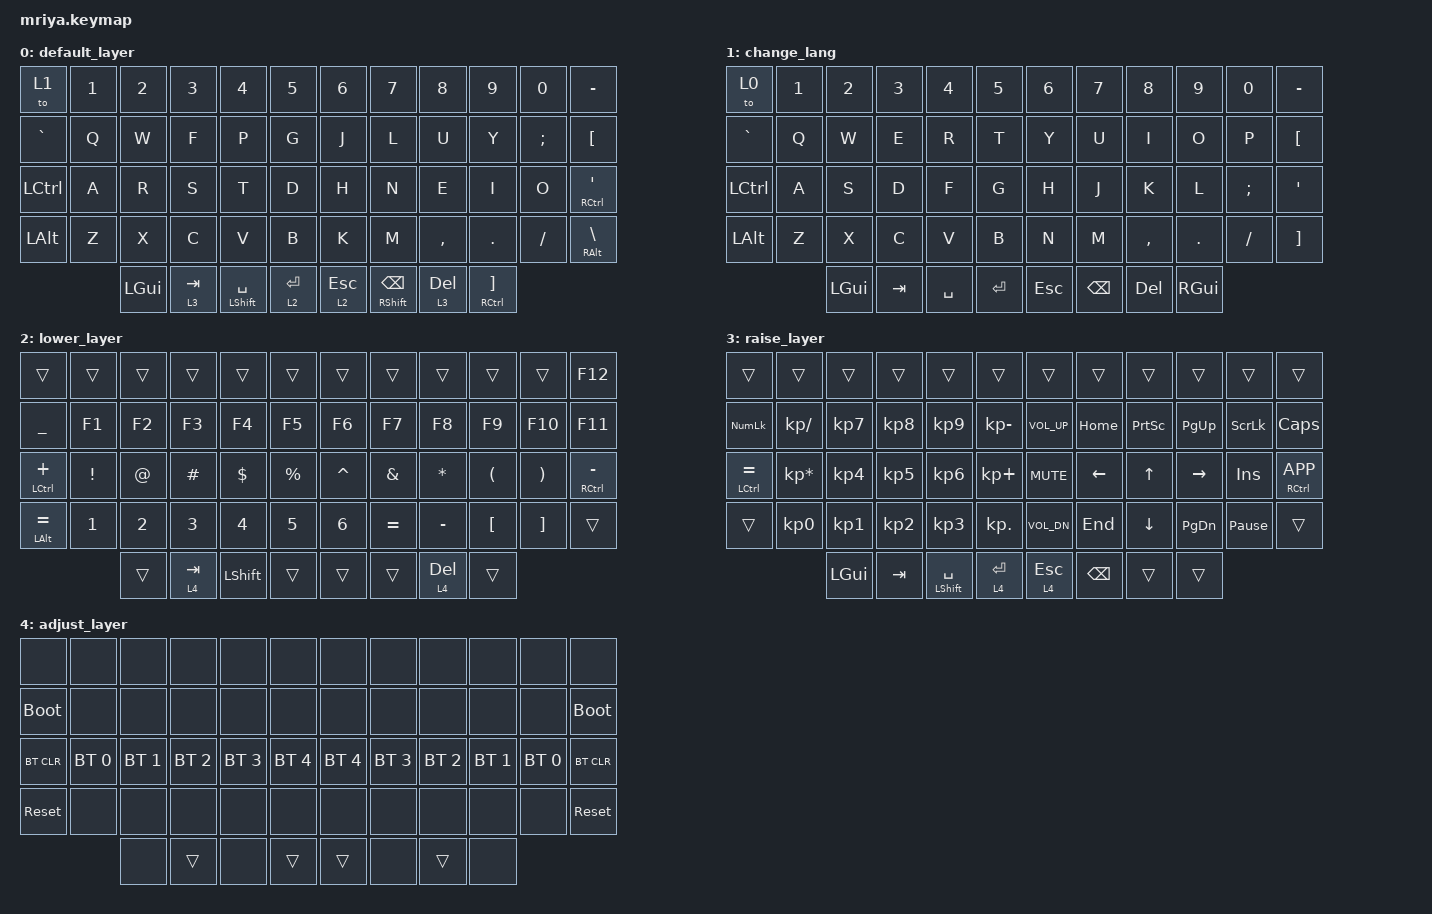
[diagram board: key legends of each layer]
/*
 * Copyright (c) 2023 Andrei Gaevskii
 *
 * SPDX-License-Identifier: MIT
 */

#include <behaviors.dtsi>
#include <dt-bindings/zmk/bt.h>
#include <dt-bindings/zmk/keys.h>

#define DEF 0
#define LWR 1
#define RSE 2
#define ADJ 3

&lt { quick_tap_ms = <200>; };

&mt { quick_tap_ms = <200>; };

/ {
    combos {
        compatible = "zmk,combos";

        chg_to_ru {
            bindings = <&to_ru>;
            key-positions = <48 50>;
            layers = <0>;
            timeout-ms = <40>;
        };

        chg_to_ehg {
            bindings = <&to_eng>;
            key-positions = <48 50>;
            layers = <1>;
            timeout-ms = <40>;
        };
    };

    macros {
        to_ru: change_language {
            compatible = "zmk,behavior-macro";
            #binding-cells = <0>;
            bindings =
                <&macro_press>,
                <&kp LGUI>,
                <&macro_tap>,
                <&kp SPACE>,
                <&macro_release>,
                <&kp LGUI>,
                <&macro_tap>,
                <&to 1>;

            label = "TO_RU";
        };

        to_eng: change_language_back {
            compatible = "zmk,behavior-macro";
            #binding-cells = <0>;
            bindings =
                <&macro_press>,
                <&kp LGUI>,
                <&macro_tap>,
                <&kp SPACE>,
                <&macro_release>,
                <&kp LGUI>,
                <&macro_tap>,
                <&to 0>;

            label = "TO_ENG";
        };
    };

    keymap {
        compatible = "zmk,keymap";

        default_layer {
            bindings = <
  &to 1      &kp N1  &kp N2    &kp N3     &kp N4           &kp N5       &kp N6     &kp N7          &kp N8     &kp N9                   &kp N0         &kp MINUS
  &kp GRAVE  &kp Q   &kp W     &kp F      &kp P            &kp G        &kp J      &kp L           &kp U      &kp Y                    &kp SEMICOLON  &kp LBKT
  &kp LCTRL  &kp A   &kp R     &kp S      &kp T            &kp D        &kp H      &kp N           &kp E      &kp I                    &kp O          &mt RCTRL SQT
  &kp LALT   &kp Z   &kp X     &kp C      &kp V            &kp B        &kp K      &kp M           &kp COMMA  &kp DOT                  &kp FSLH       &mt RALT BSLH
                     &kp LGUI  &lt 3 TAB  &mt LSHFT SPACE  &lt 2 RET    &lt 2 ESC  &mt RSHFT BSPC  &lt 3 DEL  &mt RCTRL RIGHT_BRACKET
            >;
        };

        change_lang {
            bindings = <
  &to 0         &kp N1  &kp N2    &kp N3   &kp N4     &kp N5       &kp N6   &kp N7    &kp N8     &kp N9    &kp N0    &kp MINUS
  &kp GRAVE     &kp Q   &kp W     &kp E    &kp R      &kp T        &kp Y    &kp U     &kp I      &kp O     &kp P     &kp LBKT
  &kp LCTRL     &kp A   &kp S     &kp D    &kp F      &kp G        &kp H    &kp J     &kp K      &kp L     &kp SEMI  &kp APOS
  &kp LEFT_ALT  &kp Z   &kp X     &kp C    &kp V      &kp B        &kp N    &kp M     &kp COMMA  &kp DOT   &kp FSLH  &kp RBKT
                        &kp LGUI  &kp TAB  &kp SPACE  &kp ENTER    &kp ESC  &kp BSPC  &kp DEL    &kp RGUI
            >;
        };

        lower_layer {
            bindings = <
  &trans          &trans    &trans  &trans     &trans      &trans       &trans     &trans     &trans     &trans            &trans             &kp F12
  &kp UNDER       &kp F1    &kp F2  &kp F3     &kp F4      &kp F5       &kp F6     &kp F7     &kp F8     &kp F9            &kp F10            &kp F11
  &mt LCTRL PLUS  &kp EXCL  &kp AT  &kp HASH   &kp DLLR    &kp PRCNT    &kp CARET  &kp AMPS   &kp STAR   &kp LPAR          &kp RPAR           &mt RCTRL MINUS
  &mt LALT EQUAL  &kp N1    &kp N2  &kp N3     &kp N4      &kp N5       &kp N6     &kp EQUAL  &kp MINUS  &kp LEFT_BRACKET  &kp RIGHT_BRACKET  &trans
                            &trans  &lt 4 TAB  &kp LSHIFT  &trans       &trans     &trans     &lt 4 DEL  &trans
            >;
        };

        raise_layer {
            bindings = <
  &trans           &trans           &trans        &trans     &trans                &trans          &trans        &trans         &trans     &trans     &trans           &trans
  &kp KP_NUM       &kp KP_SLASH     &kp KP_N7     &kp KP_N8  &kp KP_N9             &kp KP_MINUS    &kp C_VOL_UP  &kp HOME       &kp PSCRN  &kp PG_UP  &kp SLCK         &kp CAPS
  &mt LCTRL EQUAL  &kp KP_MULTIPLY  &kp KP_N4     &kp KP_N5  &kp KP_N6             &kp KP_PLUS     &kp C_MUTE    &kp LEFT       &kp UP     &kp RIGHT  &kp INS          &mt RCTRL K_APP
  &trans           &kp KP_N0        &kp KP_N1     &kp KP_N2  &kp KP_N3             &kp KP_DOT      &kp C_VOL_DN  &kp END        &kp DOWN   &kp PG_DN  &kp PAUSE_BREAK  &trans
                                    &kp LEFT_GUI  &kp TAB    &mt LEFT_SHIFT SPACE  &lt 4 RET       &lt 4 ESC     &kp BACKSPACE  &trans     &trans
            >;
        };

        adjust_layer {
            bindings = <
  &none        &none         &none         &none         &none         &none           &none         &none         &none         &none         &none         &none
  &bootloader  &none         &none         &none         &none         &none           &none         &none         &none         &none         &none         &bootloader
  &bt BT_CLR   &bt BT_SEL 0  &bt BT_SEL 1  &bt BT_SEL 2  &bt BT_SEL 3  &bt BT_SEL 4    &bt BT_SEL 4  &bt BT_SEL 3  &bt BT_SEL 2  &bt BT_SEL 1  &bt BT_SEL 0  &bt BT_CLR
  &sys_reset   &none         &none         &none         &none         &none           &none         &none         &none         &none         &none         &sys_reset
                             &none         &trans        &none         &trans          &trans        &none         &trans        &none
            >;
        };
    };
};
